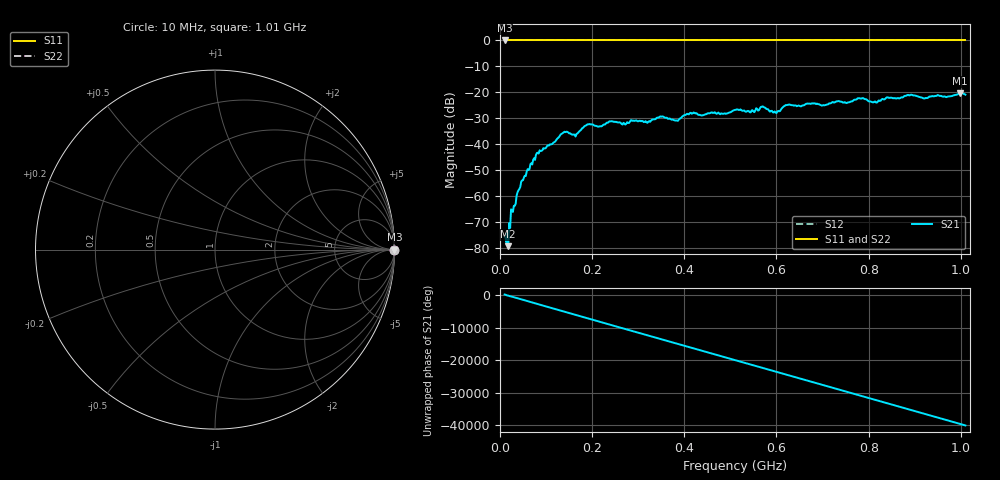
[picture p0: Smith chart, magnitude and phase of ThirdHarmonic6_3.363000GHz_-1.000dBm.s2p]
! 8/17/2025 10:38:52 AM
! C:\ANRITSUVNA\TEMP\TEMP.S2P
! CHANNEL.1
! TR.MEASUREMENT
! RAW.DATA
! RF.CORRECTION.OFF
! AVERAGING.OFF
! IF.BANDWIDTH: 5KHZ
! SWEEPTYPE:  FREQ.SWEEP(Linear)
! Reference Plane Port Info
! PORT:  PORT1  PORT2
! DISTANCE:  0  m  0  m
! TIME:  0  s  0  s
! PHASE.OFFSET:  0  deg.  0  deg.
! LOSS:  0  dB  0  dB
! REF.LOSS:  0  dB  0  dB
! REF.FREQ:  0  Hz  0  Hz
! Power Info
! POWER:  -20  dBm  -20  dBm
! EFF.POWER:  -20  dBm  -20  dBm
! SOURCE.ATTEN:  0  dB  0  dB
! TEST.ATTEN:  0  dB  0  dB
# GHZ S RI R 50.0
! FREQ.GHZ  S11RE  S11IM  S21RE  S21IM  S12RE  S12IM  S22RE  S22IM
!; PortSelection: Port_12
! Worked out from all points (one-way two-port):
!   501 points, 10 MHz to 1.01 GHz, reference 50 ohm
!   highest |S21| = -20.28 dB at 998 MHz (marker M1); lowest = -79.1 dB at 18 MHz (marker M2)
!   lowest |S11| = 0.0 dB at 10 MHz (marker M3)
!   |S11| at or under -10 dB: nowhere
!   |S22| runs from 0.0 to 0.0 dB; largest |S21 - S12| = 1.1
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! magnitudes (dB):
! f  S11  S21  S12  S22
! 10 MHz  0.0  -75.6  0.0  0.0
! 18 MHz  0.0  -79.1  0.0  0.0
! 28 MHz  0.0  -66.0  0.0  0.0
! 42 MHz  0.0  -57.2  0.0  0.0
! 82 MHz  0.0  -43.2  0.0  0.0
! 136 MHz  0.0  -35.7  0.0  0.0
! 162 MHz  0.0  -36.2  0.0  0.0
! 178 MHz  0.0  -33.8  0.0  0.0
! 192 MHz  0.0  -32.3  0.0  0.0
! 344 MHz  0.0  -29.7  0.0  0.0
! 382 MHz  0.0  -30.8  0.0  0.0
! 416 MHz  0.0  -28.2  0.0  0.0
! 510 MHz  0.0  -26.7  0.0  0.0
! 570 MHz  0.0  -25.3  0.0  0.0
! 596 MHz  0.0  -27.3  0.0  0.0
! 624 MHz  0.0  -24.8  0.0  0.0
! 678 MHz  0.0  -24.2  0.0  0.0
! 782 MHz  0.0  -22.3  0.0  0.0
! 814 MHz  0.0  -23.5  0.0  0.0
! 844 MHz  0.0  -22.1  0.0  0.0
! 998 MHz  0.0  -20.3  0.0  0.0
! 1.01 GHz  0.0  -20.9  0.0  0.0
